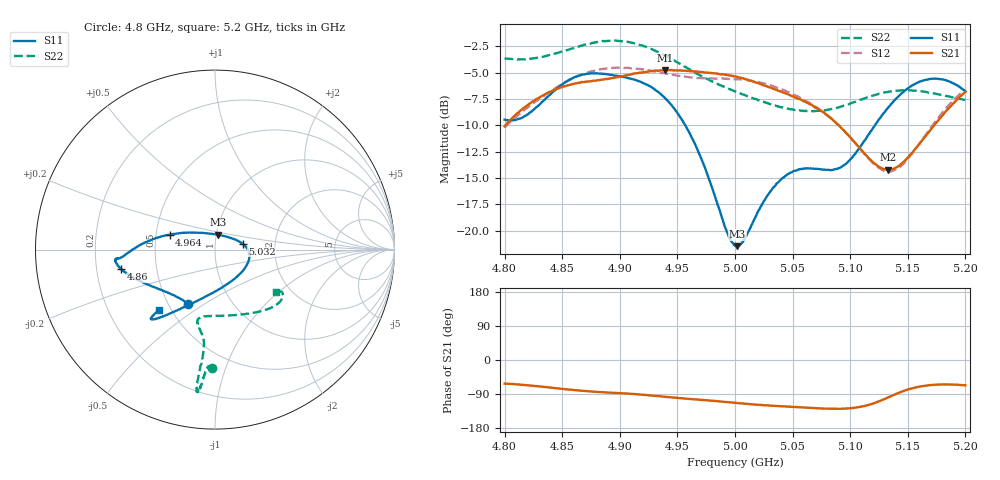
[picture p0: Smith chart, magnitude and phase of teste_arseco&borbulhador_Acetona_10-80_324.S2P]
! Network Analyzer HP8722D
! Hewlett-Packard
! Data name: Linha & Wilkinson
! Saver's name: Rodrigo Anjos
! Comments: Teste da utilização de aquisição
! continua pelo VNA HP8722D
! Time and date: 17/4/2025 17:03
!  Frequency  S11  S21  S12  S22
# HZ  S  MA R 50
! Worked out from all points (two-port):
!   401 points, 4.8 GHz to 5.2 GHz, reference 50 ohm
!   highest |S21| = -4.75 dB at 4.939 GHz (marker M1); lowest = -14.2 dB at 5.133 GHz (marker M2)
!   |S21| within 3 dB of the highest: 4.824 GHz to 5.061 GHz (236.9 MHz wide, 4.79 % of centre); 5.190982 GHz to end of sweep
!   lowest |S11| = -21.5 dB at 5.002 GHz (marker M3), VSWR 1.18, Z = 51 + j8.5 ohm
!   |S11| at or under -10 dB: 4.957 GHz to 5.121 GHz (164.5 MHz wide, 3.26 % of centre)
!   |S22| runs from -8.7 to -1.9 dB; largest |S21 - S12| = 0.87
!   S11 on the Smith chart (normalised r, x): 4.8 GHz: 0.63, -0.42; 4.86 GHz: 0.31, -0.09; 4.964 GHz: 0.59, +0.11; 5.032 GHz: 1.36, +0.09; 5.2 GHz: 0.43, -0.37
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4.8e9  0.3365 -116.7  0.3132 -62.2  0.3087 -176.7  0.6584 -91.4
4.818e9  0.3509 -135.8  0.3871 -66.2  0.3779 -176.1  0.6512 -93.1
4.86e9  0.5336 -168.2  0.4974 -79.1  0.53 -179.6  0.7363 -95.5
4.867e9  0.5498 -170.9  0.5085 -81.5  0.5516 179.2  0.7557 -95.8
4.898e9  0.5428 -174.8  0.5358 -87.1  0.5941 173.3  0.7968 -97.1
4.934e9  0.4527 179.4  0.5748 -95.6  0.5667 169.9  0.7008 -97.4
4.939e9  0.4279 177.4  0.5787 -97.0  0.5598 170.0  0.6795 -97.3
4.964e9  0.2668 161.8  0.5699 -103.5  0.5327 171.8  0.5679 -96.4
4.993e9  0.09866 113.3  0.5488 -111.0  0.5264 174.0  0.4754 -98.9
5e9  0.08482 86.8  0.5402 -113.1  0.5247 174.2  0.4577 -100.3
5.002e9  0.0844 78.6  0.5374 -113.6  0.522 174.0  0.4547 -100.6
5.008e9  0.09092 56.3  0.5263 -115.1  0.5196 174.0  0.442 -102.0
5.032e9  0.1568 12.2  0.4746 -120.6  0.4877 173.0  0.3969 -103.4
5.048e9  0.1883 -3.2  0.4391 -123.2  0.4504 172.2  0.3768 -99.2
5.067e9  0.1973 -23.6  0.3951 -126.6  0.3974 172.1  0.3691 -88.4
5.096e9  0.2075 -74.0  0.2924 -128.1  0.2932 174.6  0.3947 -65.8
5.12e9  0.3082 -110.1  0.2108 -114.7  0.2081 -169.6  0.4381 -49.9
5.133e9  0.384 -120.4  0.1946 -98.5  0.1908 -151.6  0.4564 -43.6
5.134e9  0.3897 -121.1  0.1951 -97.2  0.1907 -150.2  0.4574 -43.2
5.146e9  0.4554 -126.6  0.2111 -82.1  0.2069 -132.6  0.4642 -38.7
5.168e9  0.5235 -131.9  0.2933 -66.9  0.2977 -113.2  0.4521 -33.4
5.2e9  0.4587 -133.0  0.4556 -66.8  0.4674 -108.9  0.417 -35.0
